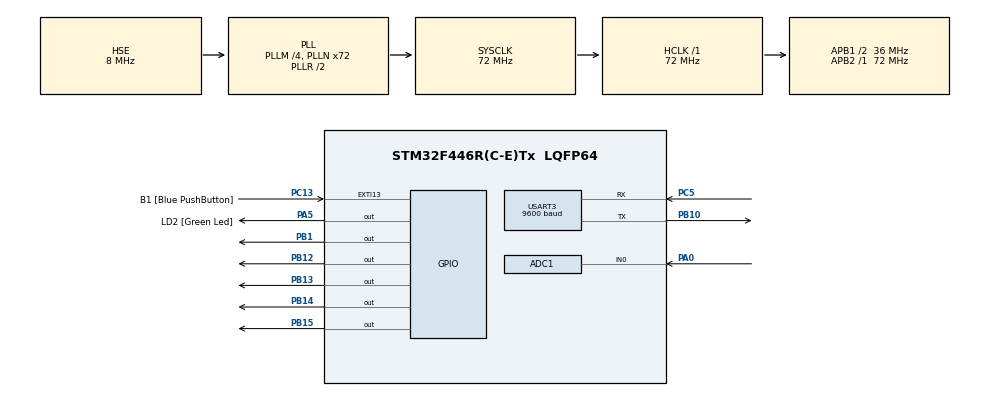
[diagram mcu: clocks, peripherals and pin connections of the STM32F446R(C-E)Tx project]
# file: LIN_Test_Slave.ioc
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ADC1.Channel-0\#ChannelRegularConversion=ADC_CHANNEL_0
ADC1.NbrOfConversionFlag=1
ADC1.Rank-0\#ChannelRegularConversion=1
ADC1.SamplingTime-0\#ChannelRegularConversion=ADC_SAMPLETIME_3CYCLES
ADC1.master=1
Mcu.Family=STM32F4
Mcu.Name=STM32F446R(C-E)Tx
Mcu.Package=LQFP64
NVIC.PriorityGroup=NVIC_PRIORITYGROUP_0
NVIC.USART3_IRQn=true\:0\:0\:false\:false\:true\:true\:true\:true
PA0-WKUP.Signal=ADCx_IN0
PA13.GPIO_Label=TMS
PA13.Mode=Serial_Wire
PA13.Signal=SYS_JTMS-SWDIO
PA14.GPIO_Label=TCK
PA14.Mode=Serial_Wire
PA14.Signal=SYS_JTCK-SWCLK
PA2.GPIO_Label=USART_TX
PA2.Signal=USART2_TX
PA3.GPIO_Label=USART_RX
PA3.Signal=USART2_RX
PA5.GPIO_Label=LD2 [Green Led]
PA5.Signal=GPIO_Output
PB1.Signal=GPIO_Output
PB10.Mode=LIN
PB10.Signal=USART3_TX
PB12.Signal=GPIO_Output
PB13.Signal=GPIO_Output
PB14.Signal=GPIO_Output
PB15.Signal=GPIO_Output
PB3.GPIO_Label=SWO
PB3.Signal=SYS_JTDO-SWO
PC13.GPIO_Label=B1 [Blue PushButton]
PC13.GPIO_ModeDefaultEXTI=GPIO_MODE_IT_FALLING
PC13.Signal=GPXTI13
PC14-OSC32_IN.Signal=RCC_OSC32_IN
PC15-OSC32_OUT.Signal=RCC_OSC32_OUT
PC5.GPIO_ModeDefaultPP=GPIO_MODE_AF_OD
PC5.GPIO_PuPd=GPIO_PULLUP
PC5.Mode=LIN
PC5.Signal=USART3_RX
PH0-OSC_IN.Mode=HSE-External-Oscillator
PH0-OSC_IN.Signal=RCC_OSC_IN
PH1-OSC_OUT.Mode=HSE-External-Oscillator
PH1-OSC_OUT.Signal=RCC_OSC_OUT
ProjectManager.HeapSize=0x200
ProjectManager.StackSize=0x400
ProjectManager.TargetToolchain=STM32CubeIDE
RCC.48MHZClocksFreq_Value=84000000
RCC.AHBFreq_Value=72000000
RCC.APB1CLKDivider=RCC_HCLK_DIV2
RCC.APB1Freq_Value=36000000
RCC.APB1TimFreq_Value=72000000
RCC.APB2Freq_Value=72000000
RCC.APB2TimFreq_Value=72000000
RCC.CortexFreq_Value=72000000
RCC.FLatency-AdvancedSettings=FLASH_LATENCY_2
RCC.HCLKFreq_Value=72000000
RCC.HSE_VALUE=8000000
RCC.HSI_VALUE=16000000
RCC.PLLM=4
RCC.PLLN=72
RCC.PLLP=RCC_PLLP_DIV4
RCC.PLLSourceVirtual=RCC_PLLSOURCE_HSE
RCC.SYSCLKFreq_VALUE=72000000
RCC.SYSCLKSource=RCC_SYSCLKSOURCE_PLLRCLK
RCC.USBFreq_Value=72000000
RCC.VCOOutputFreq_Value=144000000
SH.ADCx_IN0.0=ADC1_IN0,IN0
USART3.BaudRate=9600
USART3.BreakDetectLength=UART_LINBREAKDETECTLENGTH_11B
USART3.VirtualMode=VM_ASYNC
board=NUCLEO-F446RE

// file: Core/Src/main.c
/* USER CODE BEGIN Header */
/**
  ******************************************************************************
  * @file           : main.c
  * @brief          : Main program body
  ******************************************************************************
  * @attention
  *
  * Copyright (c) 2024 STMicroelectronics.
  * All rights reserved.
  *
  * This software is licensed under terms that can be found in the LICENSE file
  * in the root directory of this software component.
  * If no LICENSE file comes with this software, it is provided AS-IS.
  *
  ******************************************************************************
  */
/* USER CODE END Header */
#include "main.h"

ADC_HandleTypeDef hadc1;

UART_HandleTypeDef huart3;

void SystemClock_Config(void);
static void MX_GPIO_Init(void);
static void MX_USART3_UART_Init(void);
static void MX_ADC1_Init(void);

/* USER CODE BEGIN 0 */

uint8_t checksum_Calc (uint8_t PID, uint8_t *data, uint8_t size)
{
	uint8_t buffer[size+2];
	uint16_t sum=0;
	buffer[0] = PID;
	for (int i=0; i<size; i++)
	{
		buffer[i+1] = data[i];
	}

	for (int i=0; i<size+1; i++)
	{
		sum = sum + buffer[i];
		if (sum>0xff) sum = sum-0xff;
	}

	sum = 0xff-sum;
	return sum;
}

uint8_t pid_Calc (uint8_t ID)
{
	if (ID>0x3F) Error_Handler();
	uint8_t IDBuf[6];
	for (int i=0; i<6; i++)
	{
		IDBuf[i] = (ID>>i)&0x01;
	}

	uint8_t P0 = (IDBuf[0] ^ IDBuf[1] ^ IDBuf[2] ^ IDBuf[4])&0x01;
	uint8_t P1 = ~((IDBuf[1] ^ IDBuf[3] ^ IDBuf[4] ^ IDBuf[5])&0x01);

	ID = ID | (P0<<6) | (P1<<7);
	return ID;
}
uint8_t RxData[20];
uint8_t TxData[10];
int numDataBytes = 0;
uint8_t ID = 0;
int isDataValid = 0;
uint8_t Data[8];

void HAL_UARTEx_RxEventCallback(UART_HandleTypeDef *huart, uint16_t Size)
{
	numDataBytes = Size - 4;
	uint8_t checksum = checksum_Calc(RxData[2], RxData+3, numDataBytes);
	ID = RxData[2]&0x3F;
	if (checksum != RxData[Size-1])
	{
		isDataValid = 0;
		// call error handler
	}
	else isDataValid = 1;
	HAL_UARTEx_ReceiveToIdle_IT(&huart3, RxData, 5);
}

/* USER CODE END 0 */

int main(void)
{

  /* MCU Configuration--------------------------------------------------------*/

  /* Reset of all peripherals, Initializes the Flash interface and the Systick. */
  HAL_Init();

  /* Configure the system clock */
  SystemClock_Config();

  /* Initialize all configured peripherals */
  MX_GPIO_Init();
  MX_USART3_UART_Init();
  MX_ADC1_Init();
  /* USER CODE BEGIN 2 */

  HAL_UARTEx_ReceiveToIdle_IT(&huart3, RxData,5);
  /* USER CODE END 2 */

  /* Infinite loop */
  while (1)
  {

    /* USER CODE BEGIN 3 */
	  if (isDataValid == 1)
	  {
		  for (int i=0; i<numDataBytes; i++)
		  {
			  Data[i] = RxData[i+3];
		  }

		  HAL_GPIO_WritePin(GPIOB, GPIO_PIN_12, (Data[0]&0x01));
		  HAL_GPIO_WritePin(GPIOB, GPIO_PIN_13, ((Data[0]>>1)&0x01));
		  HAL_GPIO_WritePin(GPIOB, GPIO_PIN_14, ((Data[0]>>2)&0x01));
		  HAL_GPIO_WritePin(GPIOB, GPIO_PIN_15, ((Data[0]>>3)&0x01));

		  if (((Data[0]>>4)&0x01) == 1)  // if the B5 is 1
		  {
			  HAL_ADC_Start(&hadc1);
			  HAL_ADC_PollForConversion(&hadc1, 100);
			  uint16_t adcVal = HAL_ADC_GetValue(&hadc1);
			  HAL_ADC_Stop(&hadc1);

			  TxData[0] = 0x55;  //sync
			  TxData[1] = pid_Calc(0x35);
			  TxData[2] = adcVal & 0xFF;
			  TxData[3] = (adcVal>>8)&0xFF;
			  TxData[4] = checksum_Calc(TxData[1], TxData+2, 2);

			  HAL_GPIO_WritePin(GPIOB, GPIO_PIN_1, GPIO_PIN_SET);
			  HAL_Delay(100);
			  HAL_LIN_SendBreak(&huart3);
			  HAL_UART_Transmit(&huart3, TxData, 5, 1000);
			  HAL_GPIO_WritePin(GPIOB, GPIO_PIN_1, GPIO_PIN_RESET);
		  }

		  isDataValid = 0;
	  }

  }
  /* USER CODE END 3 */
}

void SystemClock_Config(void)
{
  RCC_OscInitTypeDef RCC_OscInitStruct = {0};
  RCC_ClkInitTypeDef RCC_ClkInitStruct = {0};

  /** Configure the main internal regulator output voltage
  */
  __HAL_RCC_PWR_CLK_ENABLE();
  __HAL_PWR_VOLTAGESCALING_CONFIG(PWR_REGULATOR_VOLTAGE_SCALE3);

  /** Initializes the RCC Oscillators according to the specified parameters
  * in the RCC_OscInitTypeDef structure.
  */
  RCC_OscInitStruct.OscillatorType = RCC_OSCILLATORTYPE_HSE;
  RCC_OscInitStruct.HSEState = RCC_HSE_ON;
  RCC_OscInitStruct.PLL.PLLState = RCC_PLL_ON;
  RCC_OscInitStruct.PLL.PLLSource = RCC_PLLSOURCE_HSE;
  RCC_OscInitStruct.PLL.PLLM = 4;
  RCC_OscInitStruct.PLL.PLLN = 72;
  RCC_OscInitStruct.PLL.PLLP = RCC_PLLP_DIV4;
  RCC_OscInitStruct.PLL.PLLQ = 2;
  RCC_OscInitStruct.PLL.PLLR = 2;
  if (HAL_RCC_OscConfig(&RCC_OscInitStruct) != HAL_OK)
  {
    Error_Handler();
  }

  /** Initializes the CPU, AHB and APB buses clocks
  */
  RCC_ClkInitStruct.ClockType = RCC_CLOCKTYPE_HCLK|RCC_CLOCKTYPE_SYSCLK
                              |RCC_CLOCKTYPE_PCLK1|RCC_CLOCKTYPE_PCLK2;
  RCC_ClkInitStruct.SYSCLKSource = RCC_SYSCLKSOURCE_PLLRCLK;
  RCC_ClkInitStruct.AHBCLKDivider = RCC_SYSCLK_DIV1;
  RCC_ClkInitStruct.APB1CLKDivider = RCC_HCLK_DIV2;
  RCC_ClkInitStruct.APB2CLKDivider = RCC_HCLK_DIV1;

  if (HAL_RCC_ClockConfig(&RCC_ClkInitStruct, FLASH_LATENCY_2) != HAL_OK)
  {
    Error_Handler();
  }
}

static void MX_ADC1_Init(void)
{

  ADC_ChannelConfTypeDef sConfig = {0};

  /** Configure the global features of the ADC (Clock, Resolution, Data Alignment and number of conversion)
  */
  hadc1.Instance = ADC1;
  hadc1.Init.ClockPrescaler = ADC_CLOCK_SYNC_PCLK_DIV2;
  hadc1.Init.Resolution = ADC_RESOLUTION_12B;
  hadc1.Init.ScanConvMode = DISABLE;
  hadc1.Init.ContinuousConvMode = DISABLE;
  hadc1.Init.DiscontinuousConvMode = DISABLE;
  hadc1.Init.ExternalTrigConvEdge = ADC_EXTERNALTRIGCONVEDGE_NONE;
  hadc1.Init.ExternalTrigConv = ADC_SOFTWARE_START;
  hadc1.Init.DataAlign = ADC_DATAALIGN_RIGHT;
  hadc1.Init.NbrOfConversion = 1;
  hadc1.Init.DMAContinuousRequests = DISABLE;
  hadc1.Init.EOCSelection = ADC_EOC_SINGLE_CONV;
  if (HAL_ADC_Init(&hadc1) != HAL_OK)
  {
    Error_Handler();
  }

  /** Configure for the selected ADC regular channel its corresponding rank in the sequencer and its sample time.
  */
  sConfig.Channel = ADC_CHANNEL_0;
  sConfig.Rank = 1;
  sConfig.SamplingTime = ADC_SAMPLETIME_3CYCLES;
  if (HAL_ADC_ConfigChannel(&hadc1, &sConfig) != HAL_OK)
  {
    Error_Handler();
  }

}

static void MX_USART3_UART_Init(void)
{

  huart3.Instance = USART3;
  huart3.Init.BaudRate = 9600;
  huart3.Init.WordLength = UART_WORDLENGTH_8B;
  huart3.Init.StopBits = UART_STOPBITS_1;
  huart3.Init.Parity = UART_PARITY_NONE;
  huart3.Init.Mode = UART_MODE_TX_RX;
  huart3.Init.HwFlowCtl = UART_HWCONTROL_NONE;
  huart3.Init.OverSampling = UART_OVERSAMPLING_16;
  if (HAL_LIN_Init(&huart3, UART_LINBREAKDETECTLENGTH_11B) != HAL_OK)
  {
    Error_Handler();
  }

}

static void MX_GPIO_Init(void)
{
  GPIO_InitTypeDef GPIO_InitStruct = {0};

  /* GPIO Ports Clock Enable */
  __HAL_RCC_GPIOC_CLK_ENABLE();
  __HAL_RCC_GPIOH_CLK_ENABLE();
  __HAL_RCC_GPIOA_CLK_ENABLE();
  __HAL_RCC_GPIOB_CLK_ENABLE();

  /*Configure GPIO pin Output Level */
  HAL_GPIO_WritePin(LD2_GPIO_Port, LD2_Pin, GPIO_PIN_RESET);

  /*Configure GPIO pin Output Level */
  HAL_GPIO_WritePin(GPIOB, GPIO_PIN_1|GPIO_PIN_12|GPIO_PIN_13|GPIO_PIN_14
                          |GPIO_PIN_15, GPIO_PIN_RESET);

  /*Configure GPIO pin : B1_Pin */
  GPIO_InitStruct.Pin = B1_Pin;
  GPIO_InitStruct.Mode = GPIO_MODE_IT_FALLING;
  GPIO_InitStruct.Pull = GPIO_NOPULL;
  HAL_GPIO_Init(B1_GPIO_Port, &GPIO_InitStruct);

  /*Configure GPIO pins : USART_TX_Pin USART_RX_Pin */
  GPIO_InitStruct.Pin = USART_TX_Pin|USART_RX_Pin;
  GPIO_InitStruct.Mode = GPIO_MODE_AF_PP;
  GPIO_InitStruct.Pull = GPIO_NOPULL;
  GPIO_InitStruct.Speed = GPIO_SPEED_FREQ_VERY_HIGH;
  GPIO_InitStruct.Alternate = GPIO_AF7_USART2;
  HAL_GPIO_Init(GPIOA, &GPIO_InitStruct);

  /*Configure GPIO pin : LD2_Pin */
  GPIO_InitStruct.Pin = LD2_Pin;
  GPIO_InitStruct.Mode = GPIO_MODE_OUTPUT_PP;
  GPIO_InitStruct.Pull = GPIO_NOPULL;
  GPIO_InitStruct.Speed = GPIO_SPEED_FREQ_LOW;
  HAL_GPIO_Init(LD2_GPIO_Port, &GPIO_InitStruct);

  /*Configure GPIO pins : PB1 PB12 PB13 PB14
                           PB15 */
  GPIO_InitStruct.Pin = GPIO_PIN_1|GPIO_PIN_12|GPIO_PIN_13|GPIO_PIN_14
                          |GPIO_PIN_15;
  GPIO_InitStruct.Mode = GPIO_MODE_OUTPUT_PP;
  GPIO_InitStruct.Pull = GPIO_NOPULL;
  GPIO_InitStruct.Speed = GPIO_SPEED_FREQ_LOW;
  HAL_GPIO_Init(GPIOB, &GPIO_InitStruct);

}

void Error_Handler(void)
{
  __disable_irq();
  while (1)
  {
  }
}
